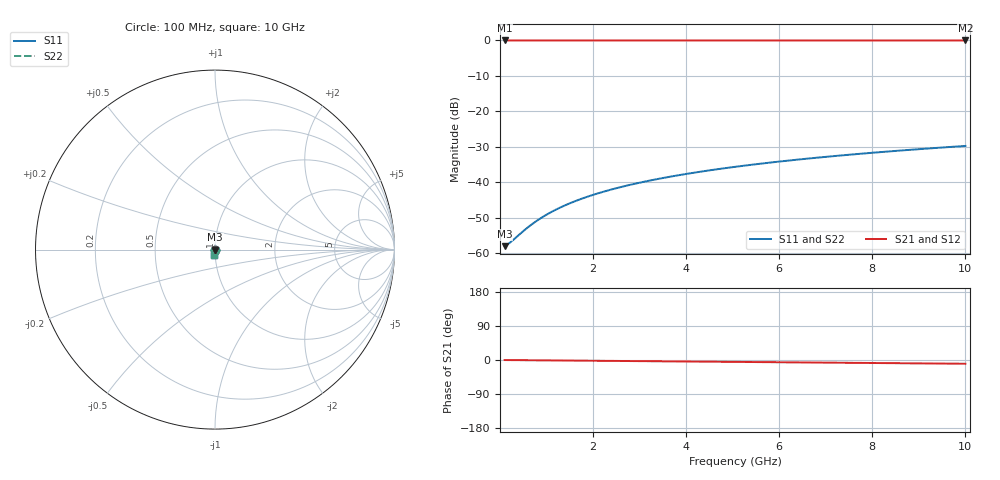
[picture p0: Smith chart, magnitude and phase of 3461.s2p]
# Hz S RI R 50.00
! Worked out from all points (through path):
!   100 points, 100 MHz to 10 GHz, reference 50 ohm
!   highest |S21| = -0.01 dB at 100 MHz (marker M1); lowest = 0.0 dB at 10 GHz (marker M2)
!   group delay of S21, straight-line fit = 2.75 ps
!   lowest |S11| = -58.1 dB at 100 MHz (marker M3), VSWR 1.00, Z = 50.1 - j0.0327 ohm
!   |S11| at or under -10 dB: start of sweep to end of sweep
!   |S22| runs from -58.1 to -29.8 dB; largest |S21 - S12| = 0
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1e8  0.00121 -0.000327  0.9988 -0.00172  0.9988 -0.00172  0.00121 -0.000327
2e8  0.00121 -0.000653  0.9988 -0.00344  0.9988 -0.00344  0.00121 -0.000653
6e8  0.00121 -0.00196  0.9987 -0.0103  0.9987 -0.0103  0.00121 -0.00196
7e8  0.0012 -0.00229  0.9987 -0.0121  0.9987 -0.0121  0.0012 -0.00229
9e8  0.00119 -0.00294  0.9986 -0.0155  0.9986 -0.0155  0.00119 -0.00294
1.1e9  0.00117 -0.00359  0.9986 -0.0189  0.9986 -0.0189  0.00117 -0.00359
1.3e9  0.00115 -0.00425  0.9985 -0.0224  0.9985 -0.0224  0.00115 -0.00425
1.5e9  0.00112 -0.0049  0.9984 -0.0258  0.9984 -0.0258  0.00112 -0.0049
1.8e9  0.00106 -0.00588  0.9982 -0.031  0.9982 -0.031  0.00106 -0.00588
2.1e9  0.001 -0.00686  0.998 -0.0362  0.998 -0.0362  0.001 -0.00686
2.5e9  0.000901 -0.00816  0.9977 -0.0431  0.9977 -0.0431  0.000901 -0.00816
2.9e9  0.000782 -0.00946  0.9974 -0.0499  0.9974 -0.0499  0.000782 -0.00946
3.4e9  0.000609 -0.0111  0.9969 -0.0585  0.9969 -0.0585  0.000609 -0.0111
3.8e9  0.000449 -0.0124  0.9964 -0.0654  0.9964 -0.0654  0.000449 -0.0124
4.2e9  0.000272 -0.0137  0.9959 -0.0723  0.9959 -0.0723  0.000272 -0.0137
4.6e9  7.61e-05 -0.015  0.9954 -0.0792  0.9954 -0.0792  7.61e-05 -0.015
5.1e9  -0.000193 -0.0166  0.9946 -0.0877  0.9946 -0.0877  -0.000193 -0.0166
5.9e9  -0.000683 -0.0192  0.9933 -0.1015  0.9933 -0.1015  -0.000683 -0.0192
6.7e9  -0.00124 -0.0217  0.9917 -0.1152  0.9917 -0.1152  -0.00124 -0.0217
7.5e9  -0.00187 -0.0243  0.9899 -0.1289  0.9899 -0.1289  -0.00187 -0.0243
8.4e9  -0.00267 -0.0271  0.9877 -0.1442  0.9877 -0.1442  -0.00267 -0.0271
1e10  -0.0043 -0.0321  0.9831 -0.1715  0.9831 -0.1715  -0.0043 -0.0321
